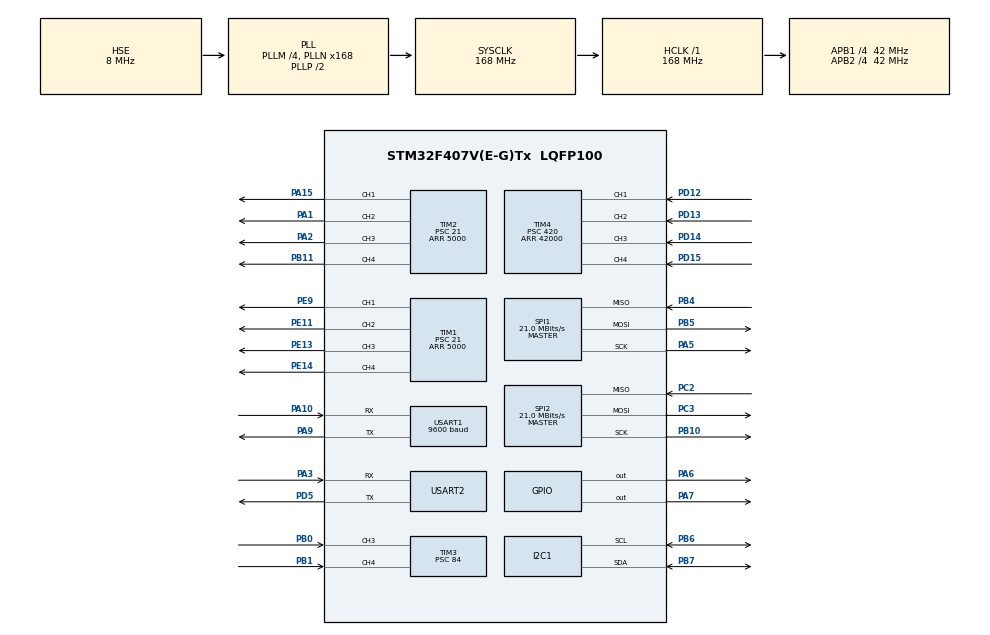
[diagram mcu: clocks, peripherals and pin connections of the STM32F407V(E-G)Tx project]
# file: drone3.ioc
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Mcu.Family=STM32F4
Mcu.Name=STM32F407V(E-G)Tx
Mcu.Package=LQFP100
NVIC.PriorityGroup=NVIC_PRIORITYGROUP_4
NVIC.TIM3_IRQn=true\:0\:0\:false\:false\:true\:true\:true\:true
NVIC.TIM4_IRQn=true\:0\:0\:false\:false\:true\:true\:true\:true
NVIC.USART1_IRQn=true\:0\:0\:false\:false\:true\:true\:true\:true
PA1.Signal=S_TIM2_CH2
PA10.Mode=Asynchronous
PA10.Signal=USART1_RX
PA13.Mode=Serial_Wire
PA13.Signal=SYS_JTMS-SWDIO
PA14.Mode=Serial_Wire
PA14.Signal=SYS_JTCK-SWCLK
PA15.Signal=S_TIM2_CH1_ETR
PA2.Signal=S_TIM2_CH3
PA3.Mode=Asynchronous
PA3.Signal=USART2_RX
PA5.Mode=Full_Duplex_Master
PA5.Signal=SPI1_SCK
PA6.Signal=GPIO_Output
PA7.Signal=GPIO_Output
PA9.Mode=Asynchronous
PA9.Signal=USART1_TX
PB0.Signal=S_TIM3_CH3
PB1.Signal=S_TIM3_CH4
PB10.Mode=Full_Duplex_Master
PB10.Signal=SPI2_SCK
PB11.Signal=S_TIM2_CH4
PB4.Mode=Full_Duplex_Master
PB4.Signal=SPI1_MISO
PB5.Mode=Full_Duplex_Master
PB5.Signal=SPI1_MOSI
PB6.Mode=I2C
PB6.Signal=I2C1_SCL
PB7.Mode=I2C
PB7.Signal=I2C1_SDA
PC2.Mode=Full_Duplex_Master
PC2.Signal=SPI2_MISO
PC3.Mode=Full_Duplex_Master
PC3.Signal=SPI2_MOSI
PD12.Signal=S_TIM4_CH1
PD13.Signal=S_TIM4_CH2
PD14.Signal=S_TIM4_CH3
PD15.Signal=S_TIM4_CH4
PD5.Mode=Asynchronous
PD5.Signal=USART2_TX
PE11.Signal=S_TIM1_CH2
PE13.Signal=S_TIM1_CH3
PE14.Signal=S_TIM1_CH4
PE9.Signal=S_TIM1_CH1
PH0-OSC_IN.Mode=HSE-External-Oscillator
PH0-OSC_IN.Signal=RCC_OSC_IN
PH1-OSC_OUT.Mode=HSE-External-Oscillator
PH1-OSC_OUT.Signal=RCC_OSC_OUT
ProjectManager.HeapSize=0x200
ProjectManager.StackSize=0x400
ProjectManager.TargetToolchain=STM32CubeIDE
RCC.48MHZClocksFreq_Value=84000000
RCC.AHBFreq_Value=168000000
RCC.APB1CLKDivider=RCC_HCLK_DIV4
RCC.APB1Freq_Value=42000000
RCC.APB1TimFreq_Value=84000000
RCC.APB2CLKDivider=RCC_HCLK_DIV4
RCC.APB2Freq_Value=42000000
RCC.APB2TimFreq_Value=84000000
RCC.CortexFreq_Value=168000000
RCC.HCLKFreq_Value=168000000
RCC.HSE_VALUE=8000000
RCC.HSI_VALUE=16000000
RCC.LSE_VALUE=32768
RCC.PLLM=4
RCC.PLLN=168
RCC.PLLSourceVirtual=RCC_PLLSOURCE_HSE
RCC.SYSCLKFreq_VALUE=168000000
RCC.SYSCLKSource=RCC_SYSCLKSOURCE_PLLCLK
RCC.VCOOutputFreq_Value=336000000
SH.S_TIM1_CH1.0=TIM1_CH1,PWM Generation1 CH1
SH.S_TIM1_CH2.0=TIM1_CH2,PWM Generation2 CH2
SH.S_TIM1_CH3.0=TIM1_CH3,PWM Generation3 CH3
SH.S_TIM1_CH4.0=TIM1_CH4,PWM Generation4 CH4
SH.S_TIM2_CH1_ETR.0=TIM2_CH1,PWM Generation1 CH1
SH.S_TIM2_CH2.0=TIM2_CH2,PWM Generation2 CH2
SH.S_TIM2_CH3.0=TIM2_CH3,PWM Generation3 CH3
SH.S_TIM2_CH4.0=TIM2_CH4,PWM Generation4 CH4
SH.S_TIM3_CH3.0=TIM3_CH3,Input_Capture3_from_TI3
SH.S_TIM3_CH4.0=TIM3_CH4,Input_Capture4_from_TI4
SH.S_TIM4_CH1.0=TIM4_CH1,Input_Capture1_from_TI1
SH.S_TIM4_CH2.0=TIM4_CH2,Input_Capture2_from_TI2
SH.S_TIM4_CH3.0=TIM4_CH3,Input_Capture3_from_TI3
SH.S_TIM4_CH4.0=TIM4_CH4,Input_Capture4_from_TI4
SPI1.BaudRatePrescaler=SPI_BAUDRATEPRESCALER_2
SPI1.CalculateBaudRate=21.0 MBits/s
SPI1.Direction=SPI_DIRECTION_2LINES
SPI1.Mode=SPI_MODE_MASTER
SPI1.VirtualType=VM_MASTER
SPI2.BaudRatePrescaler=SPI_BAUDRATEPRESCALER_2
SPI2.CalculateBaudRate=21.0 MBits/s
SPI2.Direction=SPI_DIRECTION_2LINES
SPI2.Mode=SPI_MODE_MASTER
SPI2.VirtualType=VM_MASTER
TIM1.Channel-PWM\ Generation1\ CH1=TIM_CHANNEL_1
TIM1.Channel-PWM\ Generation2\ CH2=TIM_CHANNEL_2
TIM1.Channel-PWM\ Generation3\ CH3=TIM_CHANNEL_3
TIM1.Channel-PWM\ Generation4\ CH4=TIM_CHANNEL_4
TIM1.OC1Preload_PWM=ENABLE
TIM1.OC2Preload_PWM=ENABLE
TIM1.OC3Preload_PWM=ENABLE
TIM1.OC4Preload_PWM=ENABLE
TIM1.Period=5000
TIM1.Prescaler=21
TIM2.Channel-PWM\ Generation1\ CH1=TIM_CHANNEL_1
TIM2.Channel-PWM\ Generation2\ CH2=TIM_CHANNEL_2
TIM2.Channel-PWM\ Generation3\ CH3=TIM_CHANNEL_3
TIM2.Channel-PWM\ Generation4\ CH4=TIM_CHANNEL_4
TIM2.Period=5000
TIM2.Prescaler=21
TIM3.Channel-Input_Capture3_from_TI3=TIM_CHANNEL_3
TIM3.Channel-Input_Capture4_from_TI4=TIM_CHANNEL_4
TIM3.Period=5000
TIM3.Prescaler=84
TIM4.Channel-Input_Capture1_from_TI1=TIM_CHANNEL_1
TIM4.Channel-Input_Capture2_from_TI2=TIM_CHANNEL_2
TIM4.Channel-Input_Capture3_from_TI3=TIM_CHANNEL_3
TIM4.Channel-Input_Capture4_from_TI4=TIM_CHANNEL_4
TIM4.CounterMode=TIM_COUNTERMODE_UP
TIM4.ICPolarity_CH1=TIM_INPUTCHANNELPOLARITY_BOTHEDGE
TIM4.ICPolarity_CH2=TIM_INPUTCHANNELPOLARITY_BOTHEDGE
TIM4.ICPolarity_CH3=TIM_INPUTCHANNELPOLARITY_BOTHEDGE
TIM4.ICPolarity_CH4=TIM_INPUTCHANNELPOLARITY_BOTHEDGE
TIM4.Period=42000
TIM4.Prescaler=420
USART1.BaudRate=9600
USART1.VirtualMode=VM_ASYNC
USART2.VirtualMode=VM_ASYNC
VP_TIM1_VS_ClockSourceINT.Mode=Internal
VP_TIM3_VS_ClockSourceINT.Mode=Internal
VP_TIM4_VS_ClockSourceINT.Mode=Internal
board=custom

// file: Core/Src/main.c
/* USER CODE BEGIN Header */
/**
  ******************************************************************************
  * @file           : main.c
  * @brief          : Main program body
  ******************************************************************************
  * @attention
  *
  * Copyright (c) 2022 STMicroelectronics.
  * All rights reserved.
  *
  * This software is licensed under terms that can be found in the LICENSE file
  * in the root directory of this software component.
  * If no LICENSE file comes with this software, it is provided AS-IS.
  *
  ******************************************************************************
  */
/* USER CODE END Header */
#include "main.h"

/* USER CODE BEGIN Includes */

#include "kalman.h"
#include "mpu6050.h"
#include "ms5611.h"
#include "hmc5883.h"

/* USER CODE END Includes */

 I2C_HandleTypeDef hi2c1;

SPI_HandleTypeDef hspi1;
SPI_HandleTypeDef hspi2;

TIM_HandleTypeDef htim1;
TIM_HandleTypeDef htim2;
TIM_HandleTypeDef htim3;
TIM_HandleTypeDef htim4;

UART_HandleTypeDef huart1;
UART_HandleTypeDef huart2;

/* USER CODE BEGIN PV */

kalman_filter g_filters[16];

SD_MPU6050 g_dev1;

MS5611 g_dev2;

// Remote control
int g_conn_lost_counter = -2147483648;
uint8_t g_control[10] = {0, 0, 0, 0, 0, 0, 0, 0, 0, 0};

// Monitor console
char g_console_msg[256] = {0};

/* USER CODE END PV */

void SystemClock_Config(void);
static void MX_GPIO_Init(void);
static void MX_TIM1_Init(void);
static void MX_I2C1_Init(void);
static void MX_TIM2_Init(void);
static void MX_TIM3_Init(void);
static void MX_TIM4_Init(void);
static void MX_SPI1_Init(void);
static void MX_SPI2_Init(void);
static void MX_USART1_UART_Init(void);
static void MX_USART2_UART_Init(void);

/* USER CODE BEGIN 0 */

static void flash(uint8_t led, uint8_t count) {
  for (int i = 0; i < count; i++) {
    if (led == 1) HAL_GPIO_TogglePin(GPIOA, GPIO_PIN_6);
    if (led == 2) HAL_GPIO_TogglePin(GPIOA, GPIO_PIN_7);
    HAL_Delay(100);
    if (led == 1) HAL_GPIO_TogglePin(GPIOA, GPIO_PIN_6);
    if (led == 2) HAL_GPIO_TogglePin(GPIOA, GPIO_PIN_7);
    HAL_Delay(100);
  }

  HAL_Delay(200);
}

// Monitor console
void console(const char *str) {
  HAL_UART_Transmit_IT(&huart1, (uint8_t *)str, (uint16_t)strlen(str));
}

void send_data(float x1, float x2, float x3,
    float x4, float x5, float x6, float x7, float x8, float x9) {
  memset(g_console_msg, 0, 256);
  sprintf(g_console_msg, "[%d,%d,%d,%d,%d,%d,%d,%d,%d]\n",
      (int)(x1*100000),
      (int)(x2*100000),
      (int)(x3*100000),
      (int)(x4*100000),
      (int)(x5*100000),
      (int)(x6*100000),
      (int)(x7*100000),
      (int)(x8*100000),
      (int)(x9*100000));
  console(g_console_msg);
}

/* USER CODE END 0 */

int main(void)
{

  /* MCU Configuration--------------------------------------------------------*/

  /* Reset of all peripherals, Initializes the Flash interface and the Systick. */
  HAL_Init();

  /* Configure the system clock */
  SystemClock_Config();

  /* Initialize all configured peripherals */
  MX_GPIO_Init();
  MX_TIM1_Init();
  MX_I2C1_Init();
  MX_TIM2_Init();
  MX_TIM3_Init();
  MX_TIM4_Init();
  MX_SPI1_Init();
  MX_SPI2_Init();
  MX_USART1_UART_Init();
  MX_USART2_UART_Init();
  /* USER CODE BEGIN 2 */

  // Turn off all lights
  HAL_GPIO_WritePin(GPIOA, GPIO_PIN_6, GPIO_PIN_RESET);
  HAL_GPIO_WritePin(GPIOA, GPIO_PIN_7, GPIO_PIN_RESET);

  // Gyro, accel
  SimpleKalmanFilter_Init(&g_filters[0], 2, 2, 0.5); // Accel x
  SimpleKalmanFilter_Init(&g_filters[1], 2, 2, 0.5); // Accel y
  SimpleKalmanFilter_Init(&g_filters[2], 2, 2, 0.5); // Accel z
  SimpleKalmanFilter_Init(&g_filters[3], 2, 2, 0.5); // Gyro x
  SimpleKalmanFilter_Init(&g_filters[4], 2, 2, 0.5); // Gyro y
  SimpleKalmanFilter_Init(&g_filters[5], 2, 2, 0.5); // Gyro z
  SimpleKalmanFilter_Init(&g_filters[6], 2, 2, 0.01); // Thrust
  SimpleKalmanFilter_Init(&g_filters[7], 2, 2, 0.01); // Yaw
  SimpleKalmanFilter_Init(&g_filters[8], 2, 2, 0.01); // Pitch
  SimpleKalmanFilter_Init(&g_filters[9], 2, 2, 0.01); // Roll

  // Initialize GY-86
  SD_MPU6050_Init(
      &hi2c1,
      &g_dev1,
      SD_MPU6050_Device_0,
      SD_MPU6050_Accelerometer_16G,
      SD_MPU6050_Gyroscope_2000s);
  SD_MPU6050_SetDataRate(&hi2c1, &g_dev1, SD_MPU6050_DataRate_8KHz);
  flash(1, 5);

  begin(&g_dev2, MS5611_HIGH_RES); // MS5611 sensor init
  Set_config(&hi2c1, &g_dev1, MPU6050_DLPF_BW_260); // LPF mpu
  SetAuxbus(&hi2c1, &g_dev1); // Enable MPU6050 AUX bus to interface with HMC5883l
  HMC5883L_initialize(HMC5883L_GAIN_1370, HMC5883L_RATE_75, HMC5883L_MODE_CONTINUOUS);
  flash(1, 5);

  // Remote control
  HAL_TIM_IC_Start_IT(&htim4, TIM_CHANNEL_1);
  HAL_TIM_IC_Start_IT(&htim4, TIM_CHANNEL_2);
  HAL_TIM_IC_Start_IT(&htim4, TIM_CHANNEL_3);
  HAL_TIM_IC_Start_IT(&htim4, TIM_CHANNEL_4);

  // Init PWM timer
  HAL_TIM_PWM_Start(&htim1, TIM_CHANNEL_1);
  HAL_TIM_PWM_Start(&htim1, TIM_CHANNEL_2);
  HAL_TIM_PWM_Start(&htim1, TIM_CHANNEL_3);
  HAL_TIM_PWM_Start(&htim1, TIM_CHANNEL_4);

  // Run timers
  HAL_TIM_Base_Start_IT(&htim3);

  /* USER CODE END 2 */

  /* Infinite loop */
  while (1)
  {

    /* USER CODE BEGIN 3 */

    // Receive data and callback HAL_UART_RxCpltCallback
    HAL_UART_Receive_IT(&huart1, g_control, 10);
  }
  /* USER CODE END 3 */
}

void SystemClock_Config(void)
{
  RCC_OscInitTypeDef RCC_OscInitStruct = {0};
  RCC_ClkInitTypeDef RCC_ClkInitStruct = {0};

  /** Configure the main internal regulator output voltage
  */
  __HAL_RCC_PWR_CLK_ENABLE();
  __HAL_PWR_VOLTAGESCALING_CONFIG(PWR_REGULATOR_VOLTAGE_SCALE1);

  /** Initializes the RCC Oscillators according to the specified parameters
  * in the RCC_OscInitTypeDef structure.
  */
  RCC_OscInitStruct.OscillatorType = RCC_OSCILLATORTYPE_HSE;
  RCC_OscInitStruct.HSEState = RCC_HSE_ON;
  RCC_OscInitStruct.PLL.PLLState = RCC_PLL_ON;
  RCC_OscInitStruct.PLL.PLLSource = RCC_PLLSOURCE_HSE;
  RCC_OscInitStruct.PLL.PLLM = 4;
  RCC_OscInitStruct.PLL.PLLN = 168;
  RCC_OscInitStruct.PLL.PLLP = RCC_PLLP_DIV2;
  RCC_OscInitStruct.PLL.PLLQ = 4;
  if (HAL_RCC_OscConfig(&RCC_OscInitStruct) != HAL_OK)
  {
    Error_Handler();
  }

  /** Initializes the CPU, AHB and APB buses clocks
  */
  RCC_ClkInitStruct.ClockType = RCC_CLOCKTYPE_HCLK|RCC_CLOCKTYPE_SYSCLK
                              |RCC_CLOCKTYPE_PCLK1|RCC_CLOCKTYPE_PCLK2;
  RCC_ClkInitStruct.SYSCLKSource = RCC_SYSCLKSOURCE_PLLCLK;
  RCC_ClkInitStruct.AHBCLKDivider = RCC_SYSCLK_DIV1;
  RCC_ClkInitStruct.APB1CLKDivider = RCC_HCLK_DIV4;
  RCC_ClkInitStruct.APB2CLKDivider = RCC_HCLK_DIV4;

  if (HAL_RCC_ClockConfig(&RCC_ClkInitStruct, FLASH_LATENCY_5) != HAL_OK)
  {
    Error_Handler();
  }
}

static void MX_I2C1_Init(void)
{

  hi2c1.Instance = I2C1;
  hi2c1.Init.ClockSpeed = 100000;
  hi2c1.Init.DutyCycle = I2C_DUTYCYCLE_2;
  hi2c1.Init.OwnAddress1 = 0;
  hi2c1.Init.AddressingMode = I2C_ADDRESSINGMODE_7BIT;
  hi2c1.Init.DualAddressMode = I2C_DUALADDRESS_DISABLE;
  hi2c1.Init.OwnAddress2 = 0;
  hi2c1.Init.GeneralCallMode = I2C_GENERALCALL_DISABLE;
  hi2c1.Init.NoStretchMode = I2C_NOSTRETCH_DISABLE;
  if (HAL_I2C_Init(&hi2c1) != HAL_OK)
  {
    Error_Handler();
  }

}

static void MX_SPI1_Init(void)
{

  /* SPI1 parameter configuration*/
  hspi1.Instance = SPI1;
  hspi1.Init.Mode = SPI_MODE_MASTER;
  hspi1.Init.Direction = SPI_DIRECTION_2LINES;
  hspi1.Init.DataSize = SPI_DATASIZE_8BIT;
  hspi1.Init.CLKPolarity = SPI_POLARITY_LOW;
  hspi1.Init.CLKPhase = SPI_PHASE_1EDGE;
  hspi1.Init.NSS = SPI_NSS_SOFT;
  hspi1.Init.BaudRatePrescaler = SPI_BAUDRATEPRESCALER_2;
  hspi1.Init.FirstBit = SPI_FIRSTBIT_MSB;
  hspi1.Init.TIMode = SPI_TIMODE_DISABLE;
  hspi1.Init.CRCCalculation = SPI_CRCCALCULATION_DISABLE;
  hspi1.Init.CRCPolynomial = 10;
  if (HAL_SPI_Init(&hspi1) != HAL_OK)
  {
    Error_Handler();
  }

}

static void MX_SPI2_Init(void)
{

  /* SPI2 parameter configuration*/
  hspi2.Instance = SPI2;
  hspi2.Init.Mode = SPI_MODE_MASTER;
  hspi2.Init.Direction = SPI_DIRECTION_2LINES;
  hspi2.Init.DataSize = SPI_DATASIZE_8BIT;
  hspi2.Init.CLKPolarity = SPI_POLARITY_LOW;
  hspi2.Init.CLKPhase = SPI_PHASE_1EDGE;
  hspi2.Init.NSS = SPI_NSS_SOFT;
  hspi2.Init.BaudRatePrescaler = SPI_BAUDRATEPRESCALER_2;
  hspi2.Init.FirstBit = SPI_FIRSTBIT_MSB;
  hspi2.Init.TIMode = SPI_TIMODE_DISABLE;
  hspi2.Init.CRCCalculation = SPI_CRCCALCULATION_DISABLE;
  hspi2.Init.CRCPolynomial = 10;
  if (HAL_SPI_Init(&hspi2) != HAL_OK)
  {
    Error_Handler();
  }

}

static void MX_TIM1_Init(void)
{

  TIM_ClockConfigTypeDef sClockSourceConfig = {0};
  TIM_MasterConfigTypeDef sMasterConfig = {0};
  TIM_OC_InitTypeDef sConfigOC = {0};
  TIM_BreakDeadTimeConfigTypeDef sBreakDeadTimeConfig = {0};

  htim1.Instance = TIM1;
  htim1.Init.Prescaler = 21;
  htim1.Init.CounterMode = TIM_COUNTERMODE_UP;
  htim1.Init.Period = 5000;
  htim1.Init.ClockDivision = TIM_CLOCKDIVISION_DIV1;
  htim1.Init.RepetitionCounter = 0;
  htim1.Init.AutoReloadPreload = TIM_AUTORELOAD_PRELOAD_DISABLE;
  if (HAL_TIM_Base_Init(&htim1) != HAL_OK)
  {
    Error_Handler();
  }
  sClockSourceConfig.ClockSource = TIM_CLOCKSOURCE_INTERNAL;
  if (HAL_TIM_ConfigClockSource(&htim1, &sClockSourceConfig) != HAL_OK)
  {
    Error_Handler();
  }
  if (HAL_TIM_PWM_Init(&htim1) != HAL_OK)
  {
    Error_Handler();
  }
  sMasterConfig.MasterOutputTrigger = TIM_TRGO_RESET;
  sMasterConfig.MasterSlaveMode = TIM_MASTERSLAVEMODE_DISABLE;
  if (HAL_TIMEx_MasterConfigSynchronization(&htim1, &sMasterConfig) != HAL_OK)
  {
    Error_Handler();
  }
  sConfigOC.OCMode = TIM_OCMODE_PWM1;
  sConfigOC.Pulse = 0;
  sConfigOC.OCPolarity = TIM_OCPOLARITY_HIGH;
  sConfigOC.OCNPolarity = TIM_OCNPOLARITY_HIGH;
  sConfigOC.OCFastMode = TIM_OCFAST_DISABLE;
  sConfigOC.OCIdleState = TIM_OCIDLESTATE_RESET;
  sConfigOC.OCNIdleState = TIM_OCNIDLESTATE_RESET;
  if (HAL_TIM_PWM_ConfigChannel(&htim1, &sConfigOC, TIM_CHANNEL_1) != HAL_OK)
  {
    Error_Handler();
  }
  if (HAL_TIM_PWM_ConfigChannel(&htim1, &sConfigOC, TIM_CHANNEL_2) != HAL_OK)
  {
    Error_Handler();
  }
  if (HAL_TIM_PWM_ConfigChannel(&htim1, &sConfigOC, TIM_CHANNEL_3) != HAL_OK)
  {
    Error_Handler();
  }
  if (HAL_TIM_PWM_ConfigChannel(&htim1, &sConfigOC, TIM_CHANNEL_4) != HAL_OK)
  {
    Error_Handler();
  }
  sBreakDeadTimeConfig.OffStateRunMode = TIM_OSSR_DISABLE;
  sBreakDeadTimeConfig.OffStateIDLEMode = TIM_OSSI_DISABLE;
  sBreakDeadTimeConfig.LockLevel = TIM_LOCKLEVEL_OFF;
  sBreakDeadTimeConfig.DeadTime = 0;
  sBreakDeadTimeConfig.BreakState = TIM_BREAK_DISABLE;
  sBreakDeadTimeConfig.BreakPolarity = TIM_BREAKPOLARITY_HIGH;
  sBreakDeadTimeConfig.AutomaticOutput = TIM_AUTOMATICOUTPUT_DISABLE;
  if (HAL_TIMEx_ConfigBreakDeadTime(&htim1, &sBreakDeadTimeConfig) != HAL_OK)
  {
    Error_Handler();
  }
  HAL_TIM_MspPostInit(&htim1);

}

static void MX_TIM2_Init(void)
{

  TIM_MasterConfigTypeDef sMasterConfig = {0};
  TIM_OC_InitTypeDef sConfigOC = {0};

  htim2.Instance = TIM2;
  htim2.Init.Prescaler = 21;
  htim2.Init.CounterMode = TIM_COUNTERMODE_UP;
  htim2.Init.Period = 5000;
  htim2.Init.ClockDivision = TIM_CLOCKDIVISION_DIV1;
  htim2.Init.AutoReloadPreload = TIM_AUTORELOAD_PRELOAD_DISABLE;
  if (HAL_TIM_PWM_Init(&htim2) != HAL_OK)
  {
    Error_Handler();
  }
  sMasterConfig.MasterOutputTrigger = TIM_TRGO_RESET;
  sMasterConfig.MasterSlaveMode = TIM_MASTERSLAVEMODE_DISABLE;
  if (HAL_TIMEx_MasterConfigSynchronization(&htim2, &sMasterConfig) != HAL_OK)
  {
    Error_Handler();
  }
  sConfigOC.OCMode = TIM_OCMODE_PWM1;
  sConfigOC.Pulse = 0;
  sConfigOC.OCPolarity = TIM_OCPOLARITY_HIGH;
  sConfigOC.OCFastMode = TIM_OCFAST_DISABLE;
  if (HAL_TIM_PWM_ConfigChannel(&htim2, &sConfigOC, TIM_CHANNEL_1) != HAL_OK)
  {
    Error_Handler();
  }
  if (HAL_TIM_PWM_ConfigChannel(&htim2, &sConfigOC, TIM_CHANNEL_2) != HAL_OK)
  {
    Error_Handler();
  }
  if (HAL_TIM_PWM_ConfigChannel(&htim2, &sConfigOC, TIM_CHANNEL_3) != HAL_OK)
  {
    Error_Handler();
  }
  if (HAL_TIM_PWM_ConfigChannel(&htim2, &sConfigOC, TIM_CHANNEL_4) != HAL_OK)
  {
    Error_Handler();
  }
  HAL_TIM_MspPostInit(&htim2);

}

static void MX_TIM3_Init(void)
{

  TIM_ClockConfigTypeDef sClockSourceConfig = {0};
  TIM_MasterConfigTypeDef sMasterConfig = {0};
  TIM_IC_InitTypeDef sConfigIC = {0};

  htim3.Instance = TIM3;
  htim3.Init.Prescaler = 84;
  htim3.Init.CounterMode = TIM_COUNTERMODE_UP;
  htim3.Init.Period = 5000;
  htim3.Init.ClockDivision = TIM_CLOCKDIVISION_DIV1;
  htim3.Init.AutoReloadPreload = TIM_AUTORELOAD_PRELOAD_DISABLE;
  if (HAL_TIM_Base_Init(&htim3) != HAL_OK)
  {
    Error_Handler();
  }
  sClockSourceConfig.ClockSource = TIM_CLOCKSOURCE_INTERNAL;
  if (HAL_TIM_ConfigClockSource(&htim3, &sClockSourceConfig) != HAL_OK)
  {
    Error_Handler();
  }
  if (HAL_TIM_IC_Init(&htim3) != HAL_OK)
  {
    Error_Handler();
  }
  sMasterConfig.MasterOutputTrigger = TIM_TRGO_RESET;
  sMasterConfig.MasterSlaveMode = TIM_MASTERSLAVEMODE_DISABLE;
  if (HAL_TIMEx_MasterConfigSynchronization(&htim3, &sMasterConfig) != HAL_OK)
  {
    Error_Handler();
  }
  sConfigIC.ICPolarity = TIM_INPUTCHANNELPOLARITY_RISING;
  sConfigIC.ICSelection = TIM_ICSELECTION_DIRECTTI;
  sConfigIC.ICPrescaler = TIM_ICPSC_DIV1;
  sConfigIC.ICFilter = 0;
  if (HAL_TIM_IC_ConfigChannel(&htim3, &sConfigIC, TIM_CHANNEL_3) != HAL_OK)
  {
    Error_Handler();
  }
  if (HAL_TIM_IC_ConfigChannel(&htim3, &sConfigIC, TIM_CHANNEL_4) != HAL_OK)
  {
    Error_Handler();
  }

}

static void MX_TIM4_Init(void)
{

  TIM_ClockConfigTypeDef sClockSourceConfig = {0};
  TIM_MasterConfigTypeDef sMasterConfig = {0};
  TIM_IC_InitTypeDef sConfigIC = {0};

  htim4.Instance = TIM4;
  htim4.Init.Prescaler = 420;
  htim4.Init.CounterMode = TIM_COUNTERMODE_UP;
  htim4.Init.Period = 42000;
  htim4.Init.ClockDivision = TIM_CLOCKDIVISION_DIV1;
  htim4.Init.AutoReloadPreload = TIM_AUTORELOAD_PRELOAD_DISABLE;
  if (HAL_TIM_Base_Init(&htim4) != HAL_OK)
  {
    Error_Handler();
  }
  sClockSourceConfig.ClockSource = TIM_CLOCKSOURCE_INTERNAL;
  if (HAL_TIM_ConfigClockSource(&htim4, &sClockSourceConfig) != HAL_OK)
  {
    Error_Handler();
  }
  if (HAL_TIM_IC_Init(&htim4) != HAL_OK)
  {
    Error_Handler();
  }
  sMasterConfig.MasterOutputTrigger = TIM_TRGO_RESET;
  sMasterConfig.MasterSlaveMode = TIM_MASTERSLAVEMODE_DISABLE;
  if (HAL_TIMEx_MasterConfigSynchronization(&htim4, &sMasterConfig) != HAL_OK)
  {
    Error_Handler();
  }
  sConfigIC.ICPolarity = TIM_INPUTCHANNELPOLARITY_BOTHEDGE;
  sConfigIC.ICSelection = TIM_ICSELECTION_DIRECTTI;
  sConfigIC.ICPrescaler = TIM_ICPSC_DIV1;
  sConfigIC.ICFilter = 0;
  if (HAL_TIM_IC_ConfigChannel(&htim4, &sConfigIC, TIM_CHANNEL_1) != HAL_OK)
  {
    Error_Handler();
  }
  if (HAL_TIM_IC_ConfigChannel(&htim4, &sConfigIC, TIM_CHANNEL_2) != HAL_OK)
  {
    Error_Handler();
  }
  if (HAL_TIM_IC_ConfigChannel(&htim4, &sConfigIC, TIM_CHANNEL_3) != HAL_OK)
  {
    Error_Handler();
  }
  if (HAL_TIM_IC_ConfigChannel(&htim4, &sConfigIC, TIM_CHANNEL_4) != HAL_OK)
  {
    Error_Handler();
  }

}

static void MX_USART1_UART_Init(void)
{

  huart1.Instance = USART1;
  huart1.Init.BaudRate = 9600;
  huart1.Init.WordLength = UART_WORDLENGTH_8B;
  huart1.Init.StopBits = UART_STOPBITS_1;
  huart1.Init.Parity = UART_PARITY_NONE;
  huart1.Init.Mode = UART_MODE_TX_RX;
  huart1.Init.HwFlowCtl = UART_HWCONTROL_NONE;
  huart1.Init.OverSampling = UART_OVERSAMPLING_16;
  if (HAL_UART_Init(&huart1) != HAL_OK)
  {
    Error_Handler();
  }

}

static void MX_USART2_UART_Init(void)
{

  huart2.Instance = USART2;
  huart2.Init.BaudRate = 115200;
  huart2.Init.WordLength = UART_WORDLENGTH_8B;
  huart2.Init.StopBits = UART_STOPBITS_1;
  huart2.Init.Parity = UART_PARITY_NONE;
  huart2.Init.Mode = UART_MODE_TX_RX;
  huart2.Init.HwFlowCtl = UART_HWCONTROL_NONE;
  huart2.Init.OverSampling = UART_OVERSAMPLING_16;
  if (HAL_UART_Init(&huart2) != HAL_OK)
  {
    Error_Handler();
  }

}

static void MX_GPIO_Init(void)
{
  GPIO_InitTypeDef GPIO_InitStruct = {0};

  /* GPIO Ports Clock Enable */
  __HAL_RCC_GPIOH_CLK_ENABLE();
  __HAL_RCC_GPIOC_CLK_ENABLE();
  __HAL_RCC_GPIOA_CLK_ENABLE();
  __HAL_RCC_GPIOB_CLK_ENABLE();
  __HAL_RCC_GPIOE_CLK_ENABLE();
  __HAL_RCC_GPIOD_CLK_ENABLE();

  /*Configure GPIO pin Output Level */
  HAL_GPIO_WritePin(GPIOA, GPIO_PIN_6|GPIO_PIN_7, GPIO_PIN_RESET);

  /*Configure GPIO pins : PA6 PA7 */
  GPIO_InitStruct.Pin = GPIO_PIN_6|GPIO_PIN_7;
  GPIO_InitStruct.Mode = GPIO_MODE_OUTPUT_PP;
  GPIO_InitStruct.Pull = GPIO_NOPULL;
  GPIO_InitStruct.Speed = GPIO_SPEED_FREQ_LOW;
  HAL_GPIO_Init(GPIOA, &GPIO_InitStruct);

}

void Error_Handler(void)
{
  __disable_irq();
  while (1)
  {
  }
}
